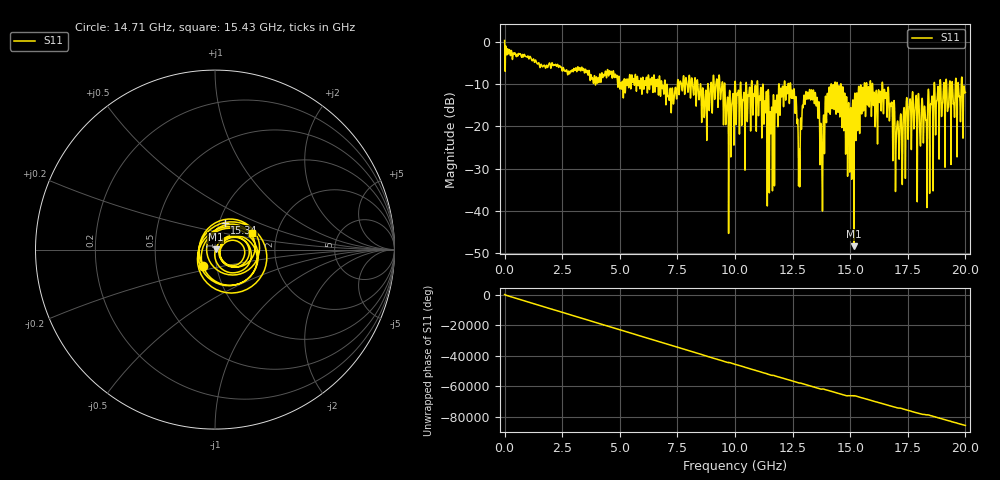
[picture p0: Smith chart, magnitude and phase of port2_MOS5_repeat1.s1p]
! MS46122B
! 2250307/22442219
! 7/24/2025 12:44:47 PM
! C:\USERS\SPARKY\DOCUMENTS\VNA_DATA\JULY24_2025\295K\PORT2_MOS5_REPEAT1.S1P
! CHANNEL.1
! TR.MEASUREMENT
! RAW.DATA
# GHZ S RI R 50.0
! FREQ.GHZ  S11RE  S11IM
!; PortSelection: Port_1
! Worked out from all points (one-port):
!   10001 points, 1 MHz to 20 GHz, reference 50 ohm
!   lowest |S11| = -48.4 dB at 15.16 GHz (marker M1), VSWR 1.01, Z = 50.3 + j0.172 ohm
!   |S11| at or under -10 dB: 12.41 GHz to 14.17 GHz (1.758 GHz wide, 13.2 % of centre); 14.6 GHz to 15.61 GHz (1.013 GHz wide, 6.7 % of centre); 16.41 GHz to 18.64 GHz (2.234 GHz wide, 12.7 % of centre) (the widest 3 of 71)
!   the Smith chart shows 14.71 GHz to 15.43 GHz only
!   S11 on the Smith chart (normalised r, x): 14.71 GHz: 0.86, -0.15; 15.34 GHz: 1.06, +0.33; 15.43 GHz: 1.48, +0.28
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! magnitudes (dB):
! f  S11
! 1 MHz  0.4
! 2.501 GHz  -6.8
! 5.001 GHz  -10.9
! 7.501 GHz  -10.0
! 8.711 GHz  -12.8
! 9.379 GHz  -13.2
! 9.789 GHz  -13.1
! 10 GHz  -9.3
! 11.04 GHz  -13.4
! 11.56 GHz  -20.6
! 11.98 GHz  -11.5
! 12.5 GHz  -12.0
! 12.79 GHz  -26.2
! 13.16 GHz  -11.9
! 13.56 GHz  -13.1
! 13.78 GHz  -32.0
! 14.09 GHz  -10.7
! 14.71 GHz  -19.0
! 15 GHz  -19.5
! 15.16 GHz  -48.4
! 15.34 GHz  -15.9
! 15.43 GHz  -13.1
! 16.57 GHz  -13.0
! 17.05 GHz  -18.9
! 17.5 GHz  -20.3
! 18.26 GHz  -17.2
! 18.73 GHz  -16.4
! 20 GHz  -12.0
